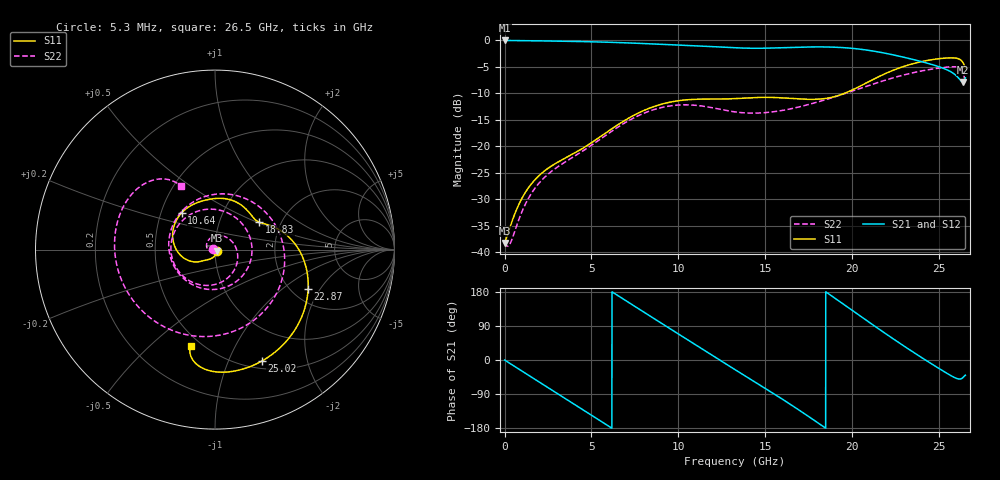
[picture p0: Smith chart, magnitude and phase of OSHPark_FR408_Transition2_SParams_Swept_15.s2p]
! TOUCHSTONE file generated by CST MICROWAVE STUDIO
! Date and time: Tue Jan  7 09:43:24 2020
! Project name: OSHPark_FR408_Transition2.cst
! Parameters = {GND_Plane_XMax=11.5; Cap_Disk_XOffset=0; Cap_Disk2_YCenter=-1.03; Cap_Disk_YCenter=1.03; Cap_Disk_XCenter=7.39; Cap_Disk_Radius=0.5; BottomSupport_Left_YMax=4.76; BottomSupport_Left_YMin=3.74; BottomSupport_Right_YMax=-3.74; BottomSupport_Right_YMin=-4.76; BottomSupport_XMax=11.64; B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
! Header version: 2015
! Port assignment regex: !\s*Touchstone port\s*([0-9]+)\s*=\s*CST MWS port\s*([0-9]+)\s*\(\"(.*)\"\)(\s*mode\s*([0-9]+))?.*
! Touchstone port assignment:
! Touchstone port 1 = CST MWS port 1 ("")
! Touchstone port 2 = CST MWS port 2 ("")
# GHz S MA R 50
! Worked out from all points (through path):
!   5000 points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, 5.3 MHz to 26.5 GHz, reference 50 ohm
!   highest |S21| = 0.00 dB at 5.3 MHz (marker M1); lowest = -7.9 dB at 26.36 GHz (marker M2)
!   group delay of S21, straight-line fit = 82.4 ps
!   lowest |S11| = -38.2 dB at 5.3 MHz (marker M3), VSWR 1.02, Z = 51.1 - j0.53 ohm
!   |S11| at or under -10 dB: start of sweep to 19.53 GHz
!   |S22| runs from -38.8 to -5.0 dB; largest |S21 - S12| = 0
!   S11 on the Smith chart (normalised r, x): 5.3 MHz: 1.02, -0.01; 10.64 GHz: 0.64, +0.28; 18.83 GHz: 1.55, +0.52; 22.87 GHz: 2.45, -1.56; 25.02 GHz: 0.58, -1.33; 26.5 GHz: 0.45, -0.68
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0.0053  0.0123 -24.9  0.9999 -0.2  0.9999 -0.2  0.01234 154.7
1.1183  0.03503 -92.7  0.9957 -32.5  0.9957 -32.5  0.02675 -164.0
2.4009  0.06044 -118.7  0.9891 -69.9  0.9891 -69.9  0.05286 153.3
3.3973  0.07613 -130.4  0.9833 -98.9  0.9833 -98.9  0.06976 108.9
4.4255  0.09441 -138.0  0.9763 -128.8  0.9763 -128.8  0.08879 58.3
5.4961  0.1231 -146.1  0.9671 -160.1  0.9671 -160.1  0.1168 5.4
6.5084  0.1598 -157.6  0.9559 170.3  0.9559 170.3  0.1516 -41.1
8.8404  0.2452 164.0  0.9222 102.3  0.9222 102.3  0.2286 -135.9
10.6371  0.2766 132.2  0.8954 50.1  0.8954 50.1  0.2464 156.3
11.9515  0.2797 111.8  0.8747 12.0  0.8747 12.0  0.2317 107.0
13.2553  0.2826 94.3  0.8529 -25.4  0.8529 -25.4  0.2117 56.3
15.5661  0.2893 62.6  0.85 -91.2  0.85 -91.2  0.2134 -55.1
17.6702  0.278 39.6  0.8687 -154.8  0.8687 -154.8  0.2534 -173.7
18.8256  0.2909 31.6  0.8655 168.7  0.8655 168.7  0.2878 121.4
20.5163  0.376 16.9  0.8244 114.1  0.8244 114.1  0.3555 30.3
22.0851  0.5022 -7.6  0.7466 64.1  0.7466 64.1  0.4312 -45.0
22.8748  0.5627 -22.7  0.6996 39.7  0.6996 39.7  0.4688 -79.1
23.8977  0.627 -43.6  0.6361 8.9  0.6361 8.9  0.5123 -120.6
25.0213  0.6738 -67.4  0.562 -23.6  0.562 -23.6  0.5498 -164.9
25.8375  0.6845 -86.4  0.4852 -45.4  0.4852 -45.4  0.565 160.1
26.3569  0.6185 -102.1  0.4045 -46.5  0.4045 -46.5  0.4986 127.9
26.5  0.5487 -104.1  0.4445 -40.0  0.4445 -40.0  0.398 118.2
